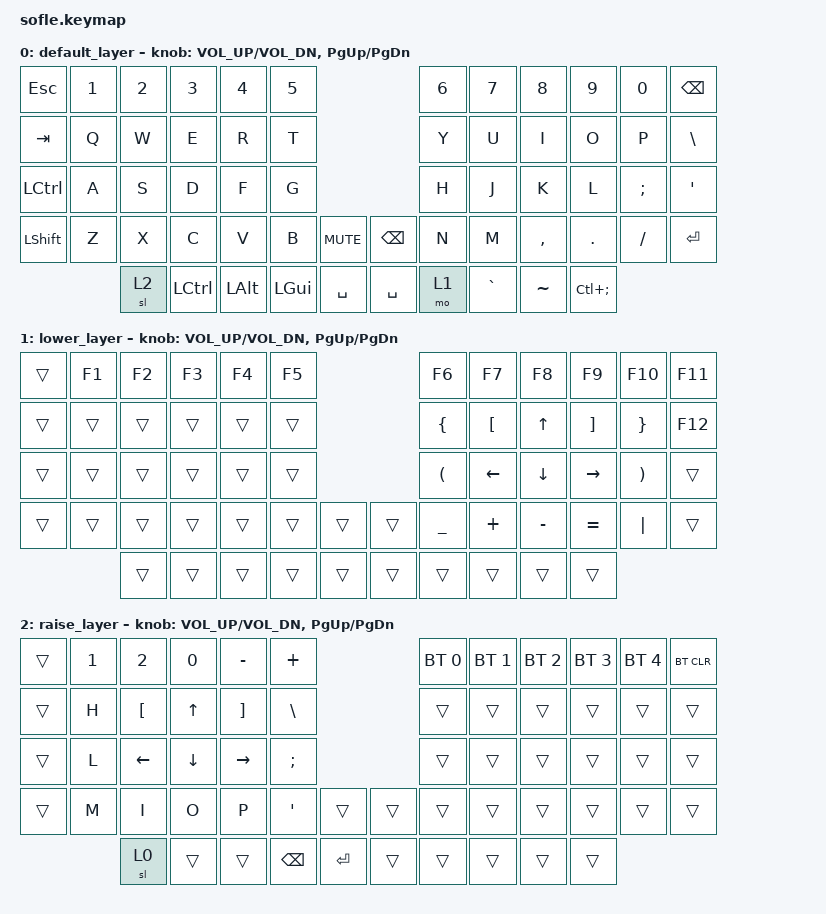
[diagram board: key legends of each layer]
/*
 * Copyright (c) 2020 The ZMK Contributors
 *
 * SPDX-License-Identifier: MIT
 */

#include <behaviors.dtsi>
#include <dt-bindings/zmk/bt.h>
#include <dt-bindings/zmk/keys.h>

/ {
    keymap {
        compatible = "zmk,keymap";

        default_layer {
            // ------------------------------------------------------------------------------------------------------------
            // |  `    |  1  |  2  |  3   |  4   |  5   |                   |  6   |  7    |  8    |  9   |   0   |       |
            // |  ESC  |  Q  |  W  |  E   |  R   |  T   |                   |  Y   |  U    |  I    |  O   |   P   | BKSPC |
            // |  TAB  |  A  |  S  |  D   |  F   |  G   |                   |  H   |  J    |  K    |  L   |   ;   |   '   |
            // | SHIFT |  Z  |  X  |  C   |  V   |  B   |  MUTE  |  |       |  N   |  M    |  ,    |  .   |   /   | SHIFT |
            //               | GUI | ALT  | CTRL | LOWER|  ENTER |  | SPACE | RAISE| CTRL  | ALT   | GUI  |

            bindings = <
  &kp ESC  &kp N1  &kp N2     &kp N3    &kp N4    &kp N5                             &kp N6     &kp N7     &kp N8             &kp N9    &kp N0  &kp BACKSPACE
  &kp TAB   &kp Q   &kp W      &kp E     &kp R     &kp T                              &kp Y      &kp U      &kp I              &kp O     &kp P       &kp BSLH
&kp LCTRL   &kp A   &kp S      &kp D     &kp F     &kp G                              &kp H      &kp J      &kp K              &kp L  &kp SEMI        &kp SQT
&kp LSHFT   &kp Z   &kp X      &kp C     &kp V     &kp B  &kp C_MUTE  &kp BACKSPACE   &kp N      &kp M  &kp COMMA            &kp DOT  &kp FSLH      &kp ENTER
                    &sl 2  &kp LCTRL  &kp LALT  &kp LGUI   &kp SPACE      &kp SPACE   &mo 1  &kp GRAVE  &kp TILDE  &kp LC(SEMICOLON)
            >;

            sensor-bindings =
                <&inc_dec_kp C_VOLUME_UP C_VOL_DN>,
                <&inc_dec_kp PG_UP PG_DN>;
        };

        lower_layer {
            // TODO: Some binds are waiting for shifted keycode support.
            // ------------------------------------------------------------------------------------------------------------
            // |       |  F1 |  F2 |  F3  |  F4  |  F5  |                   |  F6  |  F7   |  F8   |  F9  |  F10  |  F11  |
            // | `     |   1 |   2 |   3  |   4  |   5  |                   |   6  |   7   |   8   |   9  |    0  |  F12  |
            // |       |  !  |  @  |  #   |  $   |  %   |                   |  ^   |  &    |  *    |  (   |   )   |   |   |
            // |       |  =  |  -  |  +   |  {   |  }   |        |  |       |  [   |  ]    |  ;    |  :   |   \   |       |
            //               |     |      |      |      |        |  |       |      |       |       |      |

            bindings = <
&trans  &kp F1  &kp F2  &kp F3  &kp F4  &kp F5                                &kp F6            &kp F7        &kp F8             &kp F9          &kp F10  &kp F11
&trans  &trans  &trans  &trans  &trans  &trans                        &kp LEFT_BRACE  &kp LEFT_BRACKET  &kp UP_ARROW  &kp RIGHT_BRACKET  &kp RIGHT_BRACE  &kp F12
&trans  &trans  &trans  &trans  &trans  &trans                  &kp LEFT_PARENTHESIS          &kp LEFT      &kp DOWN    &kp RIGHT_ARROW         &kp RPAR   &trans
&trans  &trans  &trans  &trans  &trans  &trans  &trans  &trans        &kp UNDERSCORE          &kp PLUS     &kp MINUS          &kp EQUAL         &kp PIPE   &trans
                &trans  &trans  &trans  &trans  &trans  &trans                &trans            &trans        &trans             &trans
            >;

            sensor-bindings = <&inc_dec_kp C_VOL_UP C_VOL_DN &inc_dec_kp PG_UP PG_DN>;
        };

        raise_layer {
            // ------------------------------------------------------------------------------------------------------------
            // |BTCLR| BT1  | BT2  |  BT3  |  BT4  |  BT5 |                |      |      |       |      |       |       |
            // |     | INS  | PSCR | GUI   |       |      |                | PGUP |      |   ^   |      |       |       |
            // |     | ALT  | CTRL | SHIFT |       | CAPS |                | PGDN |   <- |   v   |  ->  |  DEL  | BKSPC |
            // |     | UNDO | CUT  | COPY  | PASTE |      |      |  |      |      |      |       |      |       |       |
            //              |      |       |       |      |      |  |      |      |      |       |      |

            bindings = <
&trans  &kp NUMBER_1      &kp NUMBER_2    &kp NUMBER_0          &kp MINUS       &kp PLUS                     &bt BT_SEL 0  &bt BT_SEL 1  &bt BT_SEL 2  &bt BT_SEL 3  &bt BT_SEL 4  &bt BT_CLR
&trans         &kp H  &kp LEFT_BRACKET    &kp UP_ARROW  &kp RIGHT_BRACKET       &kp BSLH                           &trans        &trans        &trans        &trans        &trans      &trans
&trans         &kp L          &kp LEFT  &kp DOWN_ARROW    &kp RIGHT_ARROW       &kp SEMI                           &trans        &trans        &trans        &trans        &trans      &trans
&trans         &kp M             &kp I           &kp O              &kp P        &kp SQT     &trans  &trans        &trans        &trans        &trans        &trans        &trans      &trans
                                 &sl 0          &trans             &trans  &kp BACKSPACE  &kp ENTER  &trans        &trans        &trans        &trans        &trans
            >;

            sensor-bindings = <&inc_dec_kp C_VOL_UP C_VOL_DN &inc_dec_kp PG_UP PG_DN>;
        };
    };
};
